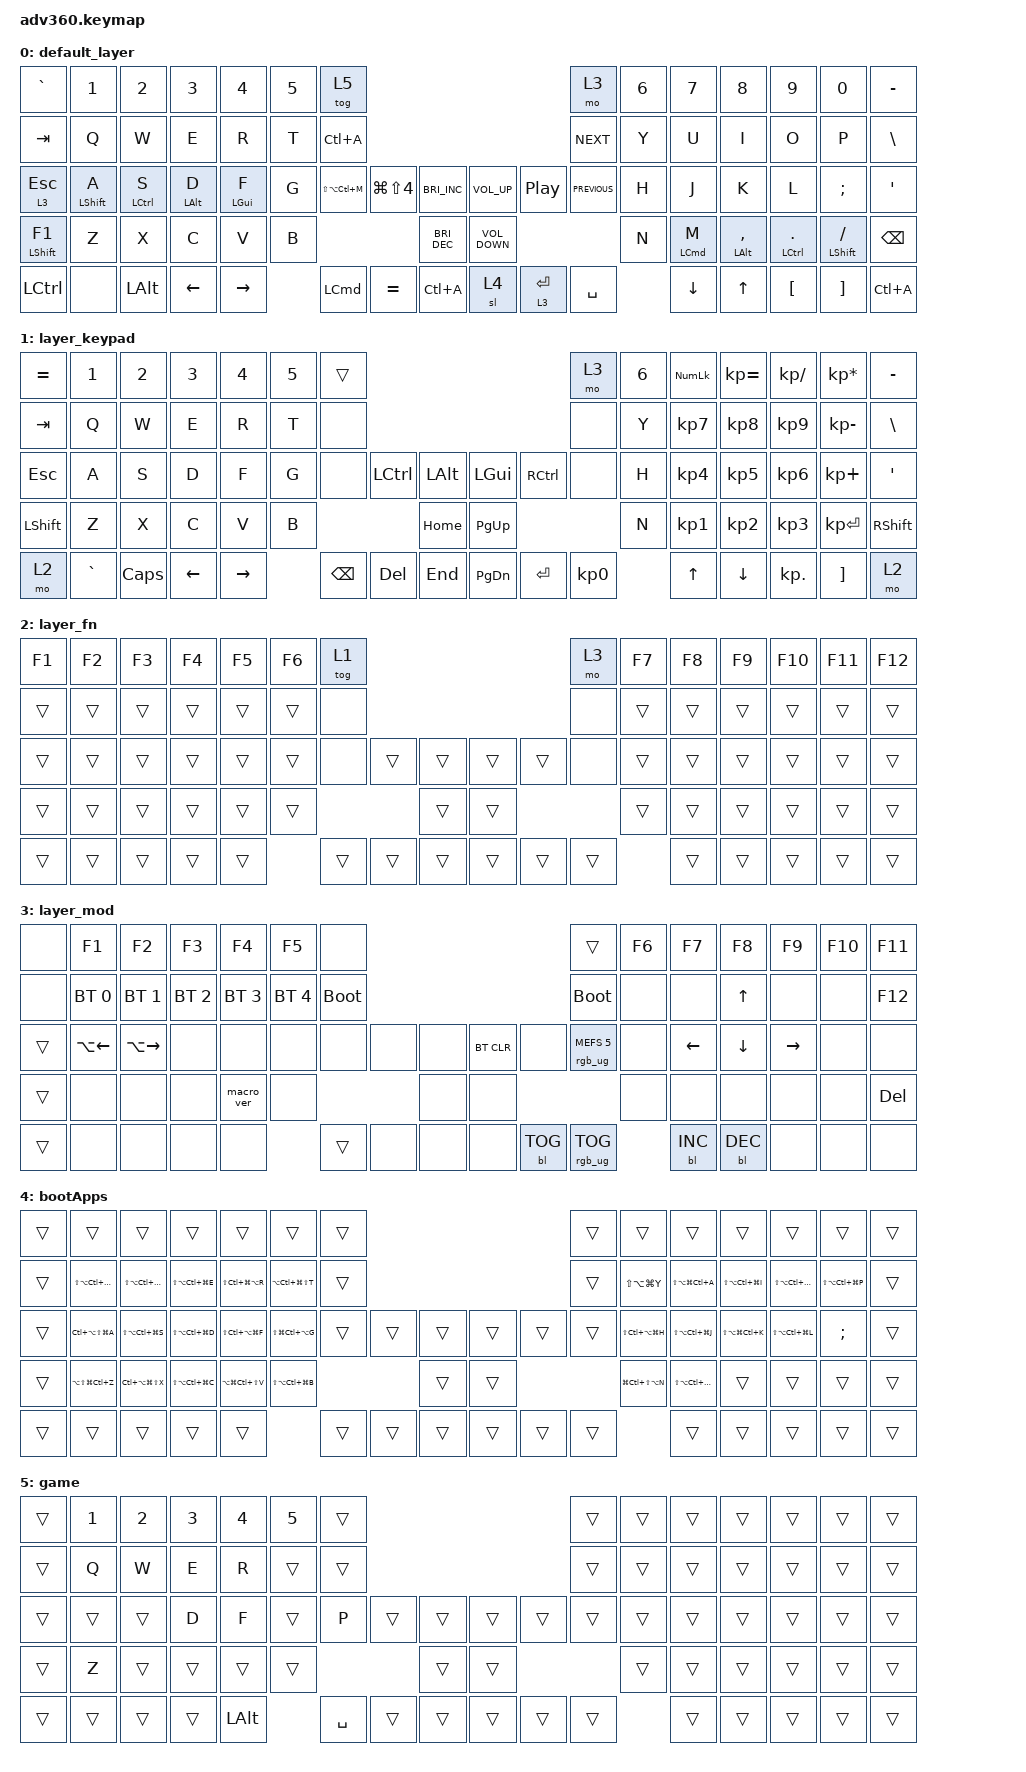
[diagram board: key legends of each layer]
/*
 * Copyright (c) 2020 The ZMK Contributors
 *
 * SPDX-License-Identifier: MIT
 */
/* THIS FILE WAS GENERATED!
 *
 * This file was generated automatically. You may or may not want to
 * edit it directly.
 */

#include <behaviors.dtsi>
#include <dt-bindings/zmk/backlight.h>
#include <dt-bindings/zmk/bt.h>
#include <dt-bindings/zmk/keys.h>
#include <dt-bindings/zmk/rgb.h>

/ {
    behaviors {
        #include "macros.dtsi"
    #include "version.dtsi"

        hm: homerow_mods {
            compatible = "zmk,behavior-hold-tap";
            label = "HOMEROW_MODS";
            #binding-cells = <2>;
            tapping-term-ms = <200>;
            quick_tap_ms = <175>;
            flavor = "tap-preferred";
            bindings = <&kp>, <&kp>;
        };
    };

    combos {
        compatible = "zmk,combos";

        togEN_VI {
            bindings = <&kp LC(SPACE)>;
            key-positions = <49 50>;
        };
    };

    keymap {
        compatible = "zmk,keymap";

        default_layer {
            bindings = <
&kp GRAVE      &kp N1            &kp N2              &kp N3          &kp N4          &kp N5  &tog 5                                                                                            &mo 3           &kp N6  &kp N7              &kp N8              &kp N9                &kp N0               &kp MINUS
&kp TAB        &kp Q             &kp W               &kp E           &kp R           &kp T   &kp LC(A)                                                                                         &kp C_NEXT      &kp Y   &kp U               &kp I               &kp O                 &kp P                &kp BSLH
&lt 3 ESCAPE   &hm LEFT_SHIFT A  &hm LEFT_CONTROL S  &hm LEFT_ALT D  &hm LEFT_GUI F  &kp G   &kp LS(LA(LC(M)))  &kp LG(LS(N4))  &kp C_BRIGHTNESS_INC      &kp C_VOLUME_UP    &kp C_PLAY_PAUSE  &kp C_PREVIOUS  &kp H   &kp J               &kp K               &kp L                 &kp SEMI             &kp SQT
&mt LSHIFT F1  &kp Z             &kp X               &kp C           &kp V           &kp B                                      &kp C_BRIGHTNESS_DEC      &kp C_VOLUME_DOWN                                    &kp N   &hm LEFT_COMMAND M  &hm LEFT_ALT COMMA  &hm LEFT_CONTROL DOT  &hm LEFT_SHIFT FSLH  &kp BACKSPACE
&kp LCTRL      &none             &kp LEFT_ALT        &kp LEFT        &kp RIGHT               &kp LEFT_COMMAND   &kp EQUAL       &kp LC(A)                 &sl 4              &lt 3 ENTER       &kp SPACE               &kp DOWN            &kp UP_ARROW        &kp LBKT              &kp RBKT             &kp LC(A)
            >;
        };

        layer_keypad {
            bindings = <
&kp EQUAL  &kp N1     &kp N2    &kp N3    &kp N4     &kp N5  &trans                                                   &mo 3      &kp N6  &kp KP_NUM  &kp KP_EQUAL  &kp KP_DIVIDE  &kp KP_MULTIPLY  &kp MINUS
&kp TAB    &kp Q      &kp W     &kp E     &kp R      &kp T   &none                                                    &none      &kp Y   &kp KP_N7   &kp KP_N8     &kp KP_N9      &kp KP_MINUS     &kp BSLH
&kp ESC    &kp A      &kp S     &kp D     &kp F      &kp G   &none     &kp LCTRL  &kp LALT      &kp LGUI   &kp RCTRL  &none      &kp H   &kp KP_N4   &kp KP_N5     &kp KP_N6      &kp KP_PLUS      &kp SQT
&kp LSHFT  &kp Z      &kp X     &kp C     &kp V      &kp B                        &kp HOME      &kp PG_UP                        &kp N   &kp KP_N1   &kp KP_N2     &kp KP_N3      &kp KP_ENTER     &kp RSHFT
&mo 2      &kp GRAVE  &kp CAPS  &kp LEFT  &kp RIGHT          &kp BSPC  &kp DEL    &kp END       &kp PG_DN  &kp ENTER  &kp KP_N0          &kp UP      &kp DOWN      &kp KP_DOT     &kp RBKT         &mo 2
            >;
        };

        layer_fn {
            bindings = <
&kp F1  &kp F2  &kp F3  &kp F4  &kp F5  &kp F6  &tog 1                                      &mo 3   &kp F7  &kp F8  &kp F9  &kp F10  &kp F11  &kp F12
&trans  &trans  &trans  &trans  &trans  &trans  &none                                       &none   &trans  &trans  &trans  &trans   &trans   &trans
&trans  &trans  &trans  &trans  &trans  &trans  &none   &trans  &trans      &trans  &trans  &none   &trans  &trans  &trans  &trans   &trans   &trans
&trans  &trans  &trans  &trans  &trans  &trans                  &trans      &trans                  &trans  &trans  &trans  &trans   &trans   &trans
&trans  &trans  &trans  &trans  &trans          &trans  &trans  &trans      &trans  &trans  &trans          &trans  &trans  &trans   &trans   &trans
            >;
        };

        layer_mod {
            bindings = <
&none   &kp F1        &kp F2         &kp F3        &kp F4        &kp F5        &none                                                  &trans                  &kp F6  &kp F7      &kp F8        &kp F9     &kp F10  &kp F11
&none   &bt BT_SEL 0  &bt BT_SEL 1   &bt BT_SEL 2  &bt BT_SEL 3  &bt BT_SEL 4  &bootloader                                            &bootloader             &none   &none       &kp UP_ARROW  &none      &none    &kp F12
&trans  &kp LA(LEFT)  &kp LA(RIGHT)  &none         &none         &none         &none        &none  &none      &bt BT_CLR  &none       &rgb_ug RGB_MEFS_CMD 5  &none   &kp LEFT    &kp DOWN      &kp RIGHT  &none    &none
&trans  &none         &none          &none         &macro_ver    &none                             &none      &none                                           &none   &none       &none         &none      &none    &kp DELETE
&trans  &none         &none          &none         &none                       &trans       &none  &none      &none       &bl BL_TOG  &rgb_ug RGB_TOG                 &bl BL_INC  &bl BL_DEC    &none      &none    &none
            >;
        };

        bootApps {
            bindings = <
&trans  &trans                 &trans                 &trans                 &trans                 &trans                 &trans                                      &trans  &trans                 &trans                 &trans                 &trans                 &trans                 &trans
&trans  &kp LS(LA(LC(LG(Q))))  &kp LS(LA(LC(LG(W))))  &kp LS(LA(LC(LG(E))))  &kp LS(LC(LG(LA(R))))  &kp LA(LC(LG(LS(T))))  &trans                                      &trans  &kp LS(LA(LG(Y)))      &kp LS(LA(LG(LC(A))))  &kp LS(LA(LC(LG(I))))  &kp LS(LA(LC(LG(O))))  &kp LS(LA(LC(LG(P))))  &trans
&trans  &kp LC(LA(LS(LG(A))))  &kp LS(LA(LC(LG(S))))  &kp LS(LA(LC(LG(D))))  &kp LS(LC(LA(LG(F))))  &kp LS(LG(LC(LA(G))))  &trans  &trans  &trans      &trans  &trans  &trans  &kp LS(LC(LA(LG(H))))  &kp LS(LA(LC(LG(J))))  &kp LS(LA(LG(LC(K))))  &kp LS(LA(LC(LG(L))))  &kp SEMI               &trans
&trans  &kp LA(LS(LG(LC(Z))))  &kp LC(LA(LG(LS(X))))  &kp LS(LA(LC(LG(C))))  &kp LA(LG(LC(LS(V))))  &kp LS(LA(LC(LG(B))))                  &trans      &trans                  &kp LG(LC(LS(LA(N))))  &kp LS(LA(LC(LG(M))))  &trans                 &trans                 &trans                 &trans
&trans  &trans                 &trans                 &trans                 &trans                                        &trans  &trans  &trans      &trans  &trans  &trans                         &trans                 &trans                 &trans                 &trans                 &trans
            >;
        };

        game {
            bindings = <
&trans  &kp N1  &kp N2  &kp N3  &kp N4    &kp N5  &trans                                         &trans  &trans  &trans  &trans  &trans  &trans  &trans
&trans  &kp Q   &kp W   &kp E   &kp R     &trans  &trans                                         &trans  &trans  &trans  &trans  &trans  &trans  &trans
&trans  &trans  &trans  &kp D   &kp F     &trans  &kp P      &trans  &trans      &trans  &trans  &trans  &trans  &trans  &trans  &trans  &trans  &trans
&trans  &kp Z   &trans  &trans  &trans    &trans                     &trans      &trans                  &trans  &trans  &trans  &trans  &trans  &trans
&trans  &trans  &trans  &trans  &kp LALT          &kp SPACE  &trans  &trans      &trans  &trans  &trans          &trans  &trans  &trans  &trans  &trans
            >;
        };
    };
};
